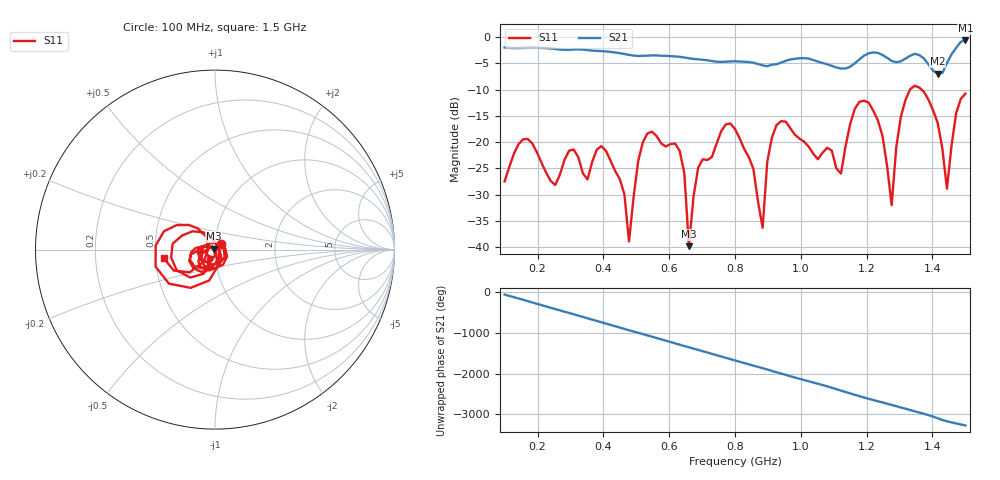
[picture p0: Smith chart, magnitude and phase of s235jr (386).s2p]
! NanoVNA-App
! Date: 2025-09-25 15:07:10
! Start: 100MHz Stop: 1,5GHz Points: 101
! S-Parameter data: F S11 S21 S12 S22
# Hz S RI R 50
!  Frequency  S11_Real  S11_Imag  S21_Real  S21_Imag  S12_Real  S12_Imag  S22_Real  S22_Imag
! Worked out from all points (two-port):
!   101 points, 100 MHz to 1.5 GHz, reference 50 ohm
!   highest |S21| = -0.62 dB at 1.5 GHz (marker M1); lowest = -7.0 dB at 1.416 GHz (marker M2)
!   |S21| within 3 dB of the highest: start of sweep to 606.1 MHz; 1.19 GHz to 1.254 GHz (64.08 MHz wide, 5.24 % of centre) (the widest 2 of 4)
!   lowest |S11| = -39.8 dB at 660 MHz (marker M3), VSWR 1.02, Z = 49.2 + j0.59 ohm
!   |S11| at or under -10 dB: start of sweep to 1.331 GHz; 1.367 GHz to end of sweep
!   S12 and S22 are empty: the file has one direction only
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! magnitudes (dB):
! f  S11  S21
! 100 MHz  -27.5  -2.0
! 156 MHz  -19.5  -2.0
! 338 MHz  -26.0  -2.4
! 408 MHz  -21.7  -2.7
! 478 MHz  -38.9  -3.4
! 520 MHz  -20.0  -3.5
! 576 MHz  -20.3  -3.5
! 632 MHz  -21.7  -3.7
! 660 MHz  -39.8  -4.0
! 688 MHz  -24.9  -4.2
! 800 MHz  -17.5  -4.6
! 884 MHz  -36.3  -5.4
! 898 MHz  -23.8  -5.5
! 926 MHz  -16.8  -5.2
! 1.038 GHz  -22.2  -4.4
! 1.122 GHz  -26.0  -6.0
! 1.206 GHz  -12.5  -3.1
! 1.276 GHz  -32.0  -4.5
! 1.332 GHz  -9.9  -3.5
! 1.416 GHz  -16.4  -7.0
! 1.444 GHz  -28.9  -4.9
! 1.5 GHz  -10.8  -0.6
